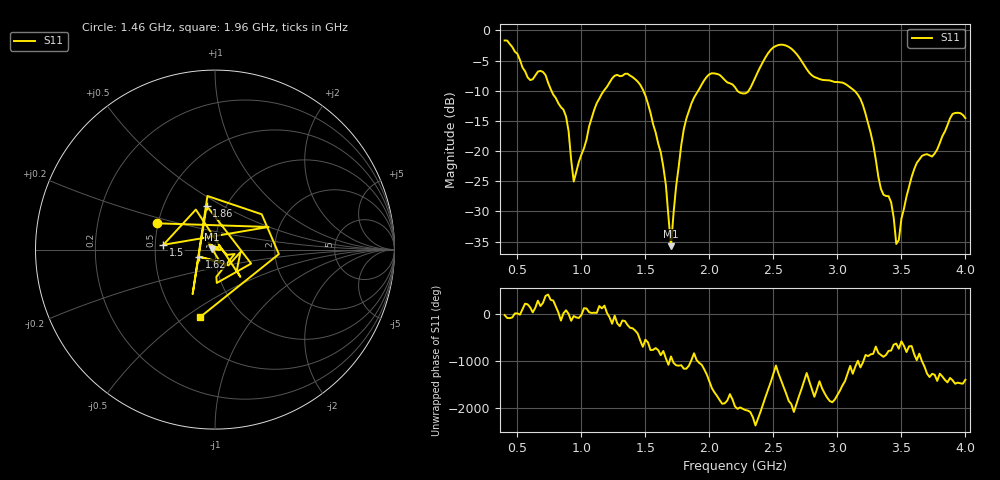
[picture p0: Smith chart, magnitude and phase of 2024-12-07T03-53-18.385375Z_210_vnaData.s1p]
!Created with skrf (http://scikit-rf.org).
# Hz S RI R 50.0
!freq ReS11 ImS11
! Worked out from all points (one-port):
!   181 points, 400 MHz to 4 GHz, reference 50 ohm
!   lowest |S11| = -35.8 dB at 1.7 GHz (marker M1), VSWR 1.03, Z = 48.4 + j0.146 ohm
!   |S11| at or under -10 dB: 766.2 MHz to 1.176 GHz (409.4 MHz wide, 42.2 % of centre); 1.484 GHz to 1.912 GHz (428 MHz wide, 25.2 % of centre); 3.133 GHz to end of sweep (the widest 3 of 4)
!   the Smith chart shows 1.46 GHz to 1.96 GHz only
!   S11 on the Smith chart (normalised r, x): 1.46 GHz: 0.49, +0.17; 1.5 GHz: 0.55, +0.03; 1.62 GHz: 0.83, -0.07; 1.86 GHz: 0.81, +0.42; 1.96 GHz: 0.64, -0.57
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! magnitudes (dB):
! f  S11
! 400 MHz  -1.7
! 600 MHz  -8.2
! 700 MHz  -6.9
! 860 MHz  -13.1
! 900 MHz  -16.7
! 940 MHz  -25.0
! 1.12 GHz  -12.0
! 1.3 GHz  -7.6
! 1.46 GHz  -9.0
! 1.5 GHz  -10.8
! 1.62 GHz  -20.2
! 1.66 GHz  -25.6
! 1.7 GHz  -35.8
! 1.76 GHz  -22.6
! 1.86 GHz  -12.1
! 1.96 GHz  -8.2
! 2.2 GHz  -9.4
! 2.3 GHz  -10.2
! 2.5 GHz  -2.8
! 2.66 GHz  -3.4
! 3.1 GHz  -9.4
! 3.22 GHz  -13.8
! 3.34 GHz  -26.3
! 3.42 GHz  -28.5
! 3.46 GHz  -35.4
! 3.56 GHz  -25.9
! 3.9 GHz  -13.8
! 4 GHz  -14.5
